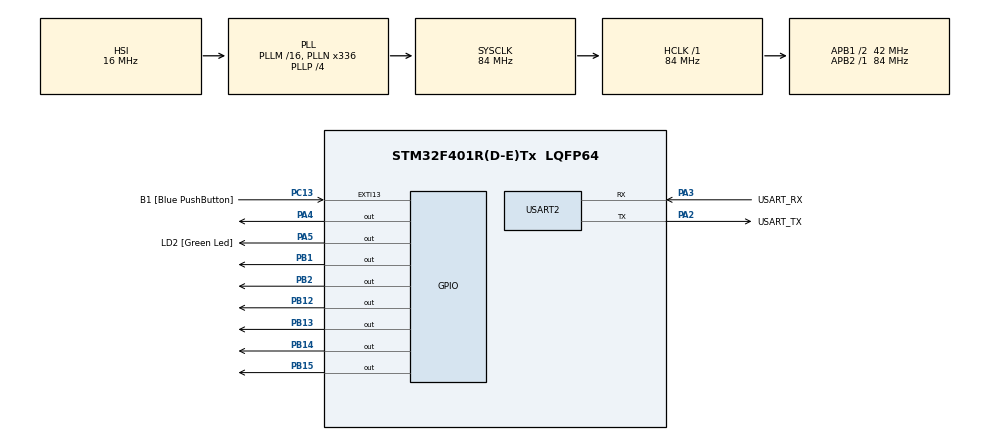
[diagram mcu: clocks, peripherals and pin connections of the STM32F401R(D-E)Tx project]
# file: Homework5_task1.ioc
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Dma.Request0=USART2_RX
Dma.USART2_RX.0.Direction=DMA_PERIPH_TO_MEMORY
Dma.USART2_RX.0.FIFOMode=DMA_FIFOMODE_DISABLE
Dma.USART2_RX.0.Instance=DMA1_Stream5
Dma.USART2_RX.0.MemDataAlignment=DMA_MDATAALIGN_BYTE
Dma.USART2_RX.0.MemInc=DMA_MINC_ENABLE
Dma.USART2_RX.0.Mode=DMA_NORMAL
Dma.USART2_RX.0.PeriphDataAlignment=DMA_PDATAALIGN_BYTE
Dma.USART2_RX.0.PeriphInc=DMA_PINC_DISABLE
Dma.USART2_RX.0.Priority=DMA_PRIORITY_LOW
Mcu.Family=STM32F4
Mcu.Name=STM32F401R(D-E)Tx
Mcu.Package=LQFP64
NVIC.DMA1_Stream5_IRQn=true\:0\:0\:false\:false\:true\:false\:true\:true
NVIC.PriorityGroup=NVIC_PRIORITYGROUP_0
NVIC.USART2_IRQn=true\:0\:0\:false\:false\:true\:true\:true\:true
PA13.GPIO_Label=TMS
PA13.Mode=Serial_Wire
PA13.Signal=SYS_JTMS-SWDIO
PA14.GPIO_Label=TCK
PA14.Mode=Serial_Wire
PA14.Signal=SYS_JTCK-SWCLK
PA2.GPIO_Label=USART_TX
PA2.GPIO_Mode=GPIO_MODE_AF_PP
PA2.GPIO_PuPd=GPIO_NOPULL
PA2.GPIO_Speed=GPIO_SPEED_FREQ_LOW
PA2.Mode=Asynchronous
PA2.Signal=USART2_TX
PA3.GPIO_Label=USART_RX
PA3.GPIO_Mode=GPIO_MODE_AF_PP
PA3.GPIO_PuPd=GPIO_NOPULL
PA3.GPIO_Speed=GPIO_SPEED_FREQ_LOW
PA3.Mode=Asynchronous
PA3.Signal=USART2_RX
PA4.Signal=GPIO_Output
PA5.GPIO_Label=LD2 [Green Led]
PA5.GPIO_Mode=GPIO_MODE_OUTPUT_PP
PA5.GPIO_PuPd=GPIO_NOPULL
PA5.GPIO_Speed=GPIO_SPEED_FREQ_LOW
PA5.Signal=GPIO_Output
PB1.Signal=GPIO_Output
PB12.Signal=GPIO_Output
PB13.Signal=GPIO_Output
PB14.Signal=GPIO_Output
PB15.Signal=GPIO_Output
PB2.Signal=GPIO_Output
PB3.GPIO_Label=SWO
PB3.Signal=SYS_JTDO-SWO
PC13-ANTI_TAMP.GPIO_Label=B1 [Blue PushButton]
PC13-ANTI_TAMP.GPIO_ModeDefaultEXTI=GPIO_MODE_IT_FALLING
PC13-ANTI_TAMP.GPIO_PuPd=GPIO_NOPULL
PC13-ANTI_TAMP.Signal=GPXTI13
PC14-OSC32_IN.Mode=LSE-External-Oscillator
PC14-OSC32_IN.Signal=RCC_OSC32_IN
PC15-OSC32_OUT.Mode=LSE-External-Oscillator
PC15-OSC32_OUT.Signal=RCC_OSC32_OUT
PH0\ -\ OSC_IN.Mode=HSE-External-Clock-Source
PH0\ -\ OSC_IN.Signal=RCC_OSC_IN
PH1\ -\ OSC_OUT.Mode=HSE-External-Clock-Source
PH1\ -\ OSC_OUT.Signal=RCC_OSC_OUT
ProjectManager.HeapSize=0x200
ProjectManager.StackSize=0x400
ProjectManager.TargetToolchain=STM32CubeIDE
RCC.48MHZClocksFreq_Value=48000000
RCC.AHBFreq_Value=84000000
RCC.APB1CLKDivider=RCC_HCLK_DIV2
RCC.APB1Freq_Value=42000000
RCC.APB1TimFreq_Value=84000000
RCC.APB2Freq_Value=84000000
RCC.APB2TimFreq_Value=84000000
RCC.CortexFreq_Value=84000000
RCC.HCLKFreq_Value=84000000
RCC.HSE_VALUE=8000000
RCC.HSI_VALUE=16000000
RCC.PLLN=336
RCC.PLLP=RCC_PLLP_DIV4
RCC.PLLQ=7
RCC.SYSCLKFreq_VALUE=84000000
RCC.SYSCLKSource=RCC_SYSCLKSOURCE_PLLCLK
RCC.VCOOutputFreq_Value=336000000
USART2.VirtualMode=VM_ASYNC
board=NUCLEO-F401RE

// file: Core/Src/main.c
/* USER CODE BEGIN Header */
/**
  ******************************************************************************
  * @file           : main.c
  * @brief          : Main program body
  ******************************************************************************
  * @attention
  *
  * Copyright (c) 2025 STMicroelectronics.
  * All rights reserved.
  *
  * This software is licensed under terms that can be found in the LICENSE file
  * in the root directory of this software component.
  * If no LICENSE file comes with this software, it is provided AS-IS.
  *
  ******************************************************************************
  */
/* USER CODE END Header */
#include "main.h"
#include "string.h"
#include "PMDB16_LCD.h"

/* USER CODE BEGIN PD */
#define UART_RX_BUFFER_SIZE 17
/* USER CODE END PD */

UART_HandleTypeDef huart2;
DMA_HandleTypeDef hdma_usart2_rx;

/* USER CODE BEGIN PV */
char singlechar ;
char string[UART_RX_BUFFER_SIZE];
int i = 0;
/* USER CODE END PV */

void SystemClock_Config(void);
static void MX_GPIO_Init(void);
static void MX_DMA_Init(void);
static void MX_USART2_UART_Init(void);

/* USER CODE BEGIN 0 */
void HAL_UART_RxCpltCallback (UART_HandleTypeDef *huart) {
    if (huart != &huart2) {
        return;  // Ignore callbacks from other UARTs
    }

    string[i] = singlechar;

    if (singlechar == '\n') {
        if (i > 0) {
            string[i - 1] = '\0';  // Replace '\n' with null terminator
        } else {
            string[i] = '\0';  // Handle edge case where '\n' is the first character
        }

        lcd_println(string, 0);  // Display on LCD
        memset(string, 0, sizeof(string));  // Clear buffer
        i = 0;  // Reset index for next message
    } else {
        i++;  // Move to next character
    }

    // Restart UART DMA reception
    HAL_UART_Receive_DMA(&huart2, &singlechar, 1);
}
/* USER CODE END 0 */

int main(void)
{

  /* MCU Configuration--------------------------------------------------------*/

  /* Reset of all peripherals, Initializes the Flash interface and the Systick. */
  HAL_Init();

  /* Configure the system clock */
  SystemClock_Config();

  /* Initialize all configured peripherals */
  MX_GPIO_Init();
  MX_DMA_Init();
  MX_USART2_UART_Init();
  /* USER CODE BEGIN 2 */

  lcd_initialize();
  lcd_backlight_ON();

  HAL_UART_Receive_DMA(&huart2, &singlechar, 1);

  /* USER CODE END 2 */

  /* Infinite loop */
  while (1)
  {

  }
}

void SystemClock_Config(void)
{
  RCC_OscInitTypeDef RCC_OscInitStruct = {0};
  RCC_ClkInitTypeDef RCC_ClkInitStruct = {0};

  /** Configure the main internal regulator output voltage
  */
  __HAL_RCC_PWR_CLK_ENABLE();
  __HAL_PWR_VOLTAGESCALING_CONFIG(PWR_REGULATOR_VOLTAGE_SCALE2);

  /** Initializes the RCC Oscillators according to the specified parameters
  * in the RCC_OscInitTypeDef structure.
  */
  RCC_OscInitStruct.OscillatorType = RCC_OSCILLATORTYPE_HSI;
  RCC_OscInitStruct.HSIState = RCC_HSI_ON;
  RCC_OscInitStruct.HSICalibrationValue = RCC_HSICALIBRATION_DEFAULT;
  RCC_OscInitStruct.PLL.PLLState = RCC_PLL_ON;
  RCC_OscInitStruct.PLL.PLLSource = RCC_PLLSOURCE_HSI;
  RCC_OscInitStruct.PLL.PLLM = 16;
  RCC_OscInitStruct.PLL.PLLN = 336;
  RCC_OscInitStruct.PLL.PLLP = RCC_PLLP_DIV4;
  RCC_OscInitStruct.PLL.PLLQ = 7;
  if (HAL_RCC_OscConfig(&RCC_OscInitStruct) != HAL_OK)
  {
    Error_Handler();
  }

  /** Initializes the CPU, AHB and APB buses clocks
  */
  RCC_ClkInitStruct.ClockType = RCC_CLOCKTYPE_HCLK|RCC_CLOCKTYPE_SYSCLK
                              |RCC_CLOCKTYPE_PCLK1|RCC_CLOCKTYPE_PCLK2;
  RCC_ClkInitStruct.SYSCLKSource = RCC_SYSCLKSOURCE_PLLCLK;
  RCC_ClkInitStruct.AHBCLKDivider = RCC_SYSCLK_DIV1;
  RCC_ClkInitStruct.APB1CLKDivider = RCC_HCLK_DIV2;
  RCC_ClkInitStruct.APB2CLKDivider = RCC_HCLK_DIV1;

  if (HAL_RCC_ClockConfig(&RCC_ClkInitStruct, FLASH_LATENCY_2) != HAL_OK)
  {
    Error_Handler();
  }
}

static void MX_USART2_UART_Init(void)
{

  huart2.Instance = USART2;
  huart2.Init.BaudRate = 115200;
  huart2.Init.WordLength = UART_WORDLENGTH_8B;
  huart2.Init.StopBits = UART_STOPBITS_1;
  huart2.Init.Parity = UART_PARITY_NONE;
  huart2.Init.Mode = UART_MODE_TX_RX;
  huart2.Init.HwFlowCtl = UART_HWCONTROL_NONE;
  huart2.Init.OverSampling = UART_OVERSAMPLING_16;
  if (HAL_UART_Init(&huart2) != HAL_OK)
  {
    Error_Handler();
  }

}

static void MX_DMA_Init(void)
{

  /* DMA controller clock enable */
  __HAL_RCC_DMA1_CLK_ENABLE();

  /* DMA interrupt init */
  /* DMA1_Stream5_IRQn interrupt configuration */
  HAL_NVIC_SetPriority(DMA1_Stream5_IRQn, 0, 0);
  HAL_NVIC_EnableIRQ(DMA1_Stream5_IRQn);

}

static void MX_GPIO_Init(void)
{
  GPIO_InitTypeDef GPIO_InitStruct = {0};

  /* GPIO Ports Clock Enable */
  __HAL_RCC_GPIOC_CLK_ENABLE();
  __HAL_RCC_GPIOH_CLK_ENABLE();
  __HAL_RCC_GPIOA_CLK_ENABLE();
  __HAL_RCC_GPIOB_CLK_ENABLE();

  /*Configure GPIO pin Output Level */
  HAL_GPIO_WritePin(GPIOA, GPIO_PIN_4|LD2_Pin, GPIO_PIN_RESET);

  /*Configure GPIO pin Output Level */
  HAL_GPIO_WritePin(GPIOB, GPIO_PIN_1|GPIO_PIN_2|GPIO_PIN_12|GPIO_PIN_13
                          |GPIO_PIN_14|GPIO_PIN_15, GPIO_PIN_RESET);

  /*Configure GPIO pin : B1_Pin */
  GPIO_InitStruct.Pin = B1_Pin;
  GPIO_InitStruct.Mode = GPIO_MODE_IT_FALLING;
  GPIO_InitStruct.Pull = GPIO_NOPULL;
  HAL_GPIO_Init(B1_GPIO_Port, &GPIO_InitStruct);

  /*Configure GPIO pins : PA4 LD2_Pin */
  GPIO_InitStruct.Pin = GPIO_PIN_4|LD2_Pin;
  GPIO_InitStruct.Mode = GPIO_MODE_OUTPUT_PP;
  GPIO_InitStruct.Pull = GPIO_NOPULL;
  GPIO_InitStruct.Speed = GPIO_SPEED_FREQ_LOW;
  HAL_GPIO_Init(GPIOA, &GPIO_InitStruct);

  /*Configure GPIO pins : PB1 PB2 PB12 PB13
                           PB14 PB15 */
  GPIO_InitStruct.Pin = GPIO_PIN_1|GPIO_PIN_2|GPIO_PIN_12|GPIO_PIN_13
                          |GPIO_PIN_14|GPIO_PIN_15;
  GPIO_InitStruct.Mode = GPIO_MODE_OUTPUT_PP;
  GPIO_InitStruct.Pull = GPIO_NOPULL;
  GPIO_InitStruct.Speed = GPIO_SPEED_FREQ_LOW;
  HAL_GPIO_Init(GPIOB, &GPIO_InitStruct);

}

void Error_Handler(void)
{
  __disable_irq();
  while (1)
  {
  }
}
